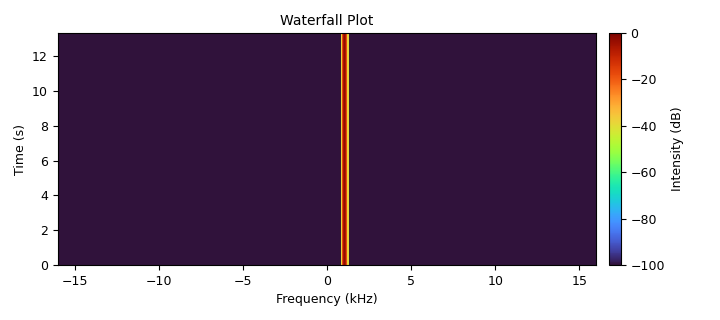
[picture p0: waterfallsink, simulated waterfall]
<?xml version='1.0' encoding='utf-8'?>
<?grc format='1' created='3.7.7'?>
<flow_graph>
<block>
<key>wxgui_waterfallsink2</key>
<param><key>id</key><value>waterfallsink</value></param>
<param><key>type</key><value>complex</value></param>
<param><key>title</key><value>Waterfall Plot</value></param>
<param><key>samp_rate</key><value>samp_rate</value></param>
<param><key>baseband_freq</key><value>0</value></param>
<param><key>dynamic_range</key><value>100</value></param>
<param><key>ref_level</key><value>0</value></param>
<param><key>ref_scale</key><value>2.0</value></param>
<param><key>fft_size</key><value>512</value></param>
<param><key>fft_rate</key><value>15</value></param>
<param><key>average</key><value>False</value></param>
<param><key>avg_alpha</key><value>0</value></param>
<param><key>win</key><value>None</value></param>
<param><key>freqvar</key><value>None</value></param>
</block>
<block>
<key>variable</key>
<param><key>id</key><value>samp_rate</value></param>
<param><key>value</key><value>32000</value></param>
</block>
<block>
<key>blocks_throttle</key>
<param><key>id</key><value>blocks_throttle_0</value></param>
<param><key>type</key><value>complex</value></param>
<param><key>samples_per_second</key><value>samp_rate</value></param>
</block>
<block>
<key>analog_sig_source_x</key>
<param><key>id</key><value>analog_sig_source_x_0</value></param>
<param><key>type</key><value>complex</value></param>
<param><key>samp_rate</key><value>samp_rate</value></param>
<param><key>waveform</key><value>analog.GR_COS_WAVE</value></param>
<param><key>freq</key><value>1000</value></param>
<param><key>amp</key><value>1</value></param>
<param><key>offset</key><value>0</value></param>
</block>
<block>
<key>options</key>
<param><key>id</key><value>spectrum_display</value></param>
<param><key>generate_options</key><value>wx_gui</value></param>
<param><key>category</key><value>Custom</value></param>
</block>
<connection><source_block_id>blocks_throttle_0</source_block_id><sink_block_id>waterfallsink</sink_block_id><source_key>0</source_key><sink_key>0</sink_key></connection>
<connection><source_block_id>analog_sig_source_x_0</source_block_id><sink_block_id>blocks_throttle_0</sink_block_id><source_key>0</source_key><sink_key>0</sink_key></connection>
</flow_graph>
